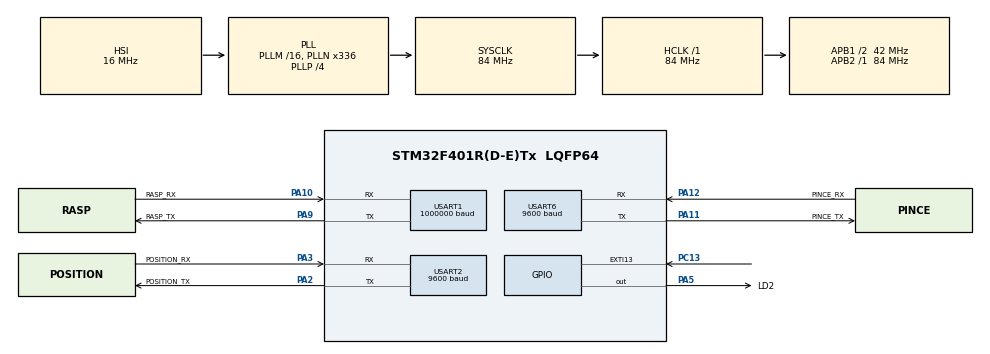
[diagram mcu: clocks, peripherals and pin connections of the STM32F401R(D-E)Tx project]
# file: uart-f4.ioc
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Dma.Request0=USART2_RX
Dma.Request1=USART6_RX
Dma.Request2=USART1_RX
Dma.USART1_RX.2.Direction=DMA_PERIPH_TO_MEMORY
Dma.USART1_RX.2.FIFOMode=DMA_FIFOMODE_DISABLE
Dma.USART1_RX.2.Instance=DMA2_Stream2
Dma.USART1_RX.2.MemDataAlignment=DMA_MDATAALIGN_BYTE
Dma.USART1_RX.2.MemInc=DMA_MINC_ENABLE
Dma.USART1_RX.2.Mode=DMA_CIRCULAR
Dma.USART1_RX.2.PeriphDataAlignment=DMA_PDATAALIGN_BYTE
Dma.USART1_RX.2.PeriphInc=DMA_PINC_DISABLE
Dma.USART1_RX.2.Priority=DMA_PRIORITY_LOW
Dma.USART2_RX.0.Direction=DMA_PERIPH_TO_MEMORY
Dma.USART2_RX.0.FIFOMode=DMA_FIFOMODE_DISABLE
Dma.USART2_RX.0.Instance=DMA1_Stream5
Dma.USART2_RX.0.MemDataAlignment=DMA_MDATAALIGN_BYTE
Dma.USART2_RX.0.MemInc=DMA_MINC_ENABLE
Dma.USART2_RX.0.Mode=DMA_CIRCULAR
Dma.USART2_RX.0.PeriphDataAlignment=DMA_PDATAALIGN_BYTE
Dma.USART2_RX.0.PeriphInc=DMA_PINC_DISABLE
Dma.USART2_RX.0.Priority=DMA_PRIORITY_LOW
Dma.USART6_RX.1.Direction=DMA_PERIPH_TO_MEMORY
Dma.USART6_RX.1.FIFOMode=DMA_FIFOMODE_DISABLE
Dma.USART6_RX.1.Instance=DMA2_Stream1
Dma.USART6_RX.1.MemDataAlignment=DMA_MDATAALIGN_BYTE
Dma.USART6_RX.1.MemInc=DMA_MINC_ENABLE
Dma.USART6_RX.1.Mode=DMA_CIRCULAR
Dma.USART6_RX.1.PeriphDataAlignment=DMA_PDATAALIGN_BYTE
Dma.USART6_RX.1.PeriphInc=DMA_PINC_DISABLE
Dma.USART6_RX.1.Priority=DMA_PRIORITY_LOW
Mcu.Family=STM32F4
Mcu.Name=STM32F401R(D-E)Tx
Mcu.Package=LQFP64
NVIC.DMA1_Stream5_IRQn=true\:0\:0\:false\:false\:true\:false
NVIC.DMA2_Stream1_IRQn=true\:0\:0\:false\:false\:true\:false
NVIC.DMA2_Stream2_IRQn=true\:0\:0\:false\:false\:true\:false
NVIC.PriorityGroup=NVIC_PRIORITYGROUP_0
NVIC.USART1_IRQn=true\:0\:0\:false\:false\:true\:true
NVIC.USART2_IRQn=true\:0\:0\:false\:false\:true\:true
NVIC.USART6_IRQn=true\:0\:0\:false\:false\:true\:true
PA10.GPIO_Label=RASP_RX
PA10.Mode=Asynchronous
PA10.Signal=USART1_RX
PA11.GPIO_Label=PINCE_TX
PA11.Mode=Asynchronous
PA11.Signal=USART6_TX
PA12.GPIO_Label=PINCE_RX
PA12.Mode=Asynchronous
PA12.Signal=USART6_RX
PA13.Mode=Serial_Wire
PA13.Signal=SYS_JTMS-SWDIO
PA14.Mode=Serial_Wire
PA14.Signal=SYS_JTCK-SWCLK
PA2.GPIO_Label=POSITION_TX
PA2.GPIO_Mode=GPIO_MODE_AF_PP
PA2.GPIO_PuPd=GPIO_PULLUP
PA2.GPIO_Speed=GPIO_SPEED_FREQ_VERY_HIGH
PA2.Mode=Asynchronous
PA2.Signal=USART2_TX
PA3.GPIO_Label=POSITION_RX
PA3.GPIO_Mode=GPIO_MODE_AF_PP
PA3.GPIO_PuPd=GPIO_PULLUP
PA3.GPIO_Speed=GPIO_SPEED_FREQ_VERY_HIGH
PA3.Mode=Asynchronous
PA3.Signal=USART2_RX
PA5.GPIO_Label=LD2
PA5.GPIO_Mode=GPIO_MODE_OUTPUT_PP
PA5.GPIO_ModeDefaultOutputPP=GPIO_MODE_OUTPUT_PP
PA5.GPIO_PuPd=GPIO_NOPULL
PA5.GPIO_Speed=GPIO_SPEED_FREQ_LOW
PA5.PinState=GPIO_PIN_RESET
PA5.Signal=GPIO_Output
PA9.GPIO_Label=RASP_TX
PA9.Mode=Asynchronous
PA9.Signal=USART1_TX
PB3.Signal=SYS_JTDO-SWO
PC13-ANTI_TAMP.GPIO_ModeDefaultEXTI=GPIO_MODE_IT_RISING
PC13-ANTI_TAMP.GPIO_PuPd=GPIO_NOPULL
PC13-ANTI_TAMP.Signal=GPXTI13
PC14-OSC32_IN.Mode=LSE-External-Oscillator
PC14-OSC32_IN.Signal=RCC_OSC32_IN
PC15-OSC32_OUT.Mode=LSE-External-Oscillator
PC15-OSC32_OUT.Signal=RCC_OSC32_OUT
PH0\ -\ OSC_IN.Mode=HSE-External-Clock-Source
PH0\ -\ OSC_IN.Signal=RCC_OSC_IN
PH1\ -\ OSC_OUT.Mode=HSE-External-Clock-Source
PH1\ -\ OSC_OUT.Signal=RCC_OSC_OUT
ProjectManager.HeapSize=0x200
ProjectManager.StackSize=0x400
ProjectManager.TargetToolchain=Makefile
RCC.48MHZClocksFreq_Value=48000000
RCC.AHBFreq_Value=84000000
RCC.APB1CLKDivider=RCC_HCLK_DIV2
RCC.APB1Freq_Value=42000000
RCC.APB1TimFreq_Value=84000000
RCC.APB2Freq_Value=84000000
RCC.APB2TimFreq_Value=84000000
RCC.CortexFreq_Value=84000000
RCC.HCLKFreq_Value=84000000
RCC.HSE_VALUE=8000000
RCC.HSI_VALUE=16000000
RCC.PLLN=336
RCC.PLLP=RCC_PLLP_DIV4
RCC.PLLQ=7
RCC.SYSCLKFreq_VALUE=84000000
RCC.SYSCLKSource=RCC_SYSCLKSOURCE_PLLCLK
RCC.VCOOutputFreq_Value=336000000
USART1.BaudRate=1000000
USART1.VirtualMode=VM_ASYNC
USART2.BaudRate=9600
USART2.StopBits=STOPBITS_1
USART2.VirtualMode=VM_ASYNC
USART2.WordLength=WORDLENGTH_8B
USART6.BaudRate=9600
USART6.VirtualMode=VM_ASYNC
board=NUCLEO-F401RE

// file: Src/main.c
/**
  ******************************************************************************
  * @file           : main.c
  * @brief          : Main program body
  ******************************************************************************
  ** This notice applies to any and all portions of this file
  * that are not between comment pairs USER CODE BEGIN and
  * USER CODE END. Other portions of this file, whether
  * inserted by the user or by software development tools
  * are owned by their respective copyright owners.
  *
  * COPYRIGHT(c) 2018 STMicroelectronics
  *
  * Redistribution and use in source and binary forms, with or without modification,
  * are permitted provided that the following conditions are met:
  *   1. Redistributions of source code must retain the above copyright notice,
  *      this list of conditions and the following disclaimer.
  *   2. Redistributions in binary form must reproduce the above copyright notice,
  *      this list of conditions and the following disclaimer in the documentation
  *      and/or other materials provided with the distribution.
  *   3. Neither the name of STMicroelectronics nor the names of its contributors
  *      may be used to endorse or promote products derived from this software
  *      without specific prior written permission.
  *
  * THIS SOFTWARE IS PROVIDED BY THE COPYRIGHT HOLDERS AND CONTRIBUTORS "AS IS"
  * AND ANY EXPRESS OR IMPLIED WARRANTIES, INCLUDING, BUT NOT LIMITED TO, THE
  * IMPLIED WARRANTIES OF MERCHANTABILITY AND FITNESS FOR A PARTICULAR PURPOSE ARE
  * DISCLAIMED. IN NO EVENT SHALL THE COPYRIGHT HOLDER OR CONTRIBUTORS BE LIABLE
  * FOR ANY DIRECT, INDIRECT, INCIDENTAL, SPECIAL, EXEMPLARY, OR CONSEQUENTIAL
  * DAMAGES (INCLUDING, BUT NOT LIMITED TO, PROCUREMENT OF SUBSTITUTE GOODS OR
  * SERVICES; LOSS OF USE, DATA, OR PROFITS; OR BUSINESS INTERRUPTION) HOWEVER
  * CAUSED AND ON ANY THEORY OF LIABILITY, WHETHER IN CONTRACT, STRICT LIABILITY,
  * OR TORT (INCLUDING NEGLIGENCE OR OTHERWISE) ARISING IN ANY WAY OUT OF THE USE
  * OF THIS SOFTWARE, EVEN IF ADVISED OF THE POSSIBILITY OF SUCH DAMAGE.
  *
  ******************************************************************************
  */
#include "main.h"
#include "stm32f4xx_hal.h"
#include "dma.h"
#include "usart.h"
#include "gpio.h"

/* USER CODE BEGIN Includes */
#include "robotronik_protocol_stm32f4.h"
/* USER CODE END Includes */

/* USER CODE BEGIN PV */
/* Private variables ---------------------------------------------------------*/

/* USER CODE END PV */

void SystemClock_Config(void);

/* USER CODE BEGIN PFP */
/* Private function prototypes -----------------------------------------------*/

/* USER CODE END PFP */

/* USER CODE BEGIN 0 */
volatile RP_Interface *dest;
volatile RP_Packet *pending_packet;
/* USER CODE END 0 */

int main(void)
{

  /* MCU Configuration----------------------------------------------------------*/

  /* Reset of all peripherals, Initializes the Flash interface and the Systick. */
  HAL_Init();

  /* Configure the system clock */
  SystemClock_Config();

  /* Initialize all configured peripherals */
  MX_GPIO_Init();
  MX_DMA_Init();
  MX_USART2_UART_Init();
  MX_USART6_UART_Init();
  MX_USART1_UART_Init();
  /* USER CODE BEGIN 2 */
  RP_Init_Interface(&iface_rpi, RP_UART_Transmit_RPI, HAL_GetTick);
  RP_INIT_UART_DMA(DMA2, LL_DMA_STREAM_2, USART1, iface_rpi);

  RP_Init_Interface(&iface_z, RP_UART_Transmit_Z, HAL_GetTick);
  RP_INIT_UART_DMA(DMA2, LL_DMA_STREAM_1, USART6, iface_z);

  RP_Init_Interface(&iface_position, RP_UART_Transmit_Position, HAL_GetTick);
  RP_INIT_UART_DMA(DMA1, LL_DMA_STREAM_5, USART2, iface_position);

  /* USER CODE END 2 */

  /* Infinite loop */
  /* USER CODE BEGIN WHILE */
  int i = 0;
  while (1)
  {
    while(!pending_packet){
      HAL_Delay(1);
      i++;
      if(i%500 == 0){
	i = 0;
	HAL_GPIO_TogglePin(LD2_GPIO_Port, LD2_Pin);
      }
    }
    __disable_irq();
    RP_Send((RP_Interface*) dest, (RP_Packet*) pending_packet, 20);
    pending_packet = 0;
    __enable_irq();
  /* USER CODE END WHILE */

  }

}

void SystemClock_Config(void)
{

  RCC_OscInitTypeDef RCC_OscInitStruct;
  RCC_ClkInitTypeDef RCC_ClkInitStruct;

    /**Configure the main internal regulator output voltage
    */
  __HAL_RCC_PWR_CLK_ENABLE();

  __HAL_PWR_VOLTAGESCALING_CONFIG(PWR_REGULATOR_VOLTAGE_SCALE2);

    /**Initializes the CPU, AHB and APB busses clocks
    */
  RCC_OscInitStruct.OscillatorType = RCC_OSCILLATORTYPE_HSI;
  RCC_OscInitStruct.HSIState = RCC_HSI_ON;
  RCC_OscInitStruct.HSICalibrationValue = 16;
  RCC_OscInitStruct.PLL.PLLState = RCC_PLL_ON;
  RCC_OscInitStruct.PLL.PLLSource = RCC_PLLSOURCE_HSI;
  RCC_OscInitStruct.PLL.PLLM = 16;
  RCC_OscInitStruct.PLL.PLLN = 336;
  RCC_OscInitStruct.PLL.PLLP = RCC_PLLP_DIV4;
  RCC_OscInitStruct.PLL.PLLQ = 7;
  if (HAL_RCC_OscConfig(&RCC_OscInitStruct) != HAL_OK)
  {
    _Error_Handler(__FILE__, __LINE__);
  }

    /**Initializes the CPU, AHB and APB busses clocks
    */
  RCC_ClkInitStruct.ClockType = RCC_CLOCKTYPE_HCLK|RCC_CLOCKTYPE_SYSCLK
                              |RCC_CLOCKTYPE_PCLK1|RCC_CLOCKTYPE_PCLK2;
  RCC_ClkInitStruct.SYSCLKSource = RCC_SYSCLKSOURCE_PLLCLK;
  RCC_ClkInitStruct.AHBCLKDivider = RCC_SYSCLK_DIV1;
  RCC_ClkInitStruct.APB1CLKDivider = RCC_HCLK_DIV2;
  RCC_ClkInitStruct.APB2CLKDivider = RCC_HCLK_DIV1;

  if (HAL_RCC_ClockConfig(&RCC_ClkInitStruct, FLASH_LATENCY_2) != HAL_OK)
  {
    _Error_Handler(__FILE__, __LINE__);
  }

    /**Configure the Systick interrupt time
    */
  HAL_SYSTICK_Config(HAL_RCC_GetHCLKFreq()/1000);

    /**Configure the Systick
    */
  HAL_SYSTICK_CLKSourceConfig(SYSTICK_CLKSOURCE_HCLK);

  /* SysTick_IRQn interrupt configuration */
  HAL_NVIC_SetPriority(SysTick_IRQn, 0, 0);
}

void _Error_Handler(char *file, int line)
{
  while(1)
  {
  }
}

/************************ (C) COPYRIGHT STMicroelectronics *****END OF FILE****/
